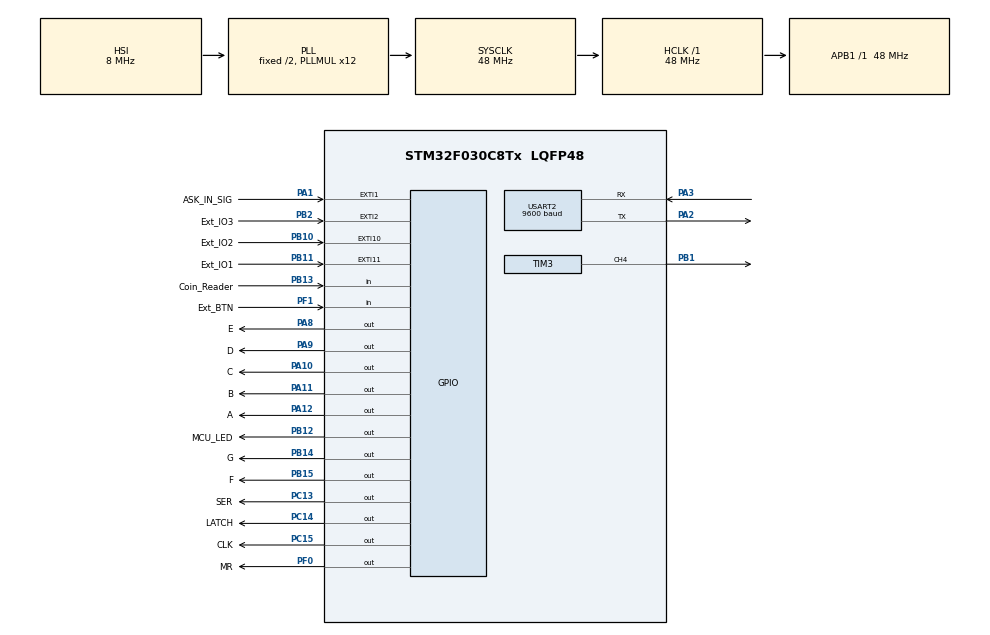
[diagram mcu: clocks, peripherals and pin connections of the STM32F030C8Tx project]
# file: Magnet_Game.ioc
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Dma.Request0=TIM3_CH4/UP
Dma.TIM3_CH4/UP.0.Direction=DMA_MEMORY_TO_PERIPH
Dma.TIM3_CH4/UP.0.Instance=DMA1_Channel3
Dma.TIM3_CH4/UP.0.MemDataAlignment=DMA_MDATAALIGN_HALFWORD
Dma.TIM3_CH4/UP.0.MemInc=DMA_MINC_ENABLE
Dma.TIM3_CH4/UP.0.Mode=DMA_NORMAL
Dma.TIM3_CH4/UP.0.PeriphDataAlignment=DMA_PDATAALIGN_HALFWORD
Dma.TIM3_CH4/UP.0.PeriphInc=DMA_PINC_DISABLE
Dma.TIM3_CH4/UP.0.Priority=DMA_PRIORITY_LOW
Mcu.Family=STM32F0
Mcu.Name=STM32F030C8Tx
Mcu.Package=LQFP48
NVIC.DMA1_Channel2_3_IRQn=true\:0\:0\:false\:false\:true\:false\:true\:true
NVIC.EXTI0_1_IRQn=true\:0\:0\:false\:false\:true\:true\:true\:true
NVIC.EXTI2_3_IRQn=true\:0\:0\:false\:false\:true\:true\:true\:true
NVIC.TIM15_IRQn=true\:0\:0\:false\:false\:true\:true\:true\:true
PA1.GPIO_Label=ASK_IN_SIG
PA1.GPIO_ModeDefaultEXTI=GPIO_MODE_IT_RISING_FALLING
PA1.Signal=GPXTI1
PA10.GPIO_Label=C
PA10.Signal=GPIO_Output
PA11.GPIO_Label=B
PA11.Signal=GPIO_Output
PA12.GPIO_Label=A
PA12.Signal=GPIO_Output
PA13.Mode=Serial_Wire
PA13.Signal=SYS_SWDIO
PA14.Mode=Serial_Wire
PA14.Signal=SYS_SWCLK
PA2.Mode=Asynchronous
PA2.Signal=USART2_TX
PA3.Mode=Asynchronous
PA3.Signal=USART2_RX
PA8.GPIO_Label=E
PA8.Signal=GPIO_Output
PA9.GPIO_Label=D
PA9.Signal=GPIO_Output
PB1.Signal=S_TIM3_CH4
PB10.GPIO_Label=Ext_IO2
PB10.GPIO_ModeDefaultEXTI=GPIO_MODE_IT_FALLING
PB10.GPIO_PuPd=GPIO_PULLUP
PB10.Signal=GPXTI10
PB11.GPIO_Label=Ext_IO1
PB11.GPIO_ModeDefaultEXTI=GPIO_MODE_IT_FALLING
PB11.GPIO_PuPd=GPIO_PULLUP
PB11.Signal=GPXTI11
PB12.GPIO_Label=MCU_LED
PB12.Signal=GPIO_Output
PB13.GPIO_Label=Coin_Reader
PB13.GPIO_PuPd=GPIO_PULLUP
PB13.Signal=GPIO_Input
PB14.GPIO_Label=G
PB14.Signal=GPIO_Output
PB15.GPIO_Label=F
PB15.Signal=GPIO_Output
PB2.GPIO_Label=Ext_IO3
PB2.GPIO_ModeDefaultEXTI=GPIO_MODE_IT_FALLING
PB2.GPIO_PuPd=GPIO_PULLUP
PB2.Signal=GPXTI2
PC13.GPIO_Label=SER
PC13.Signal=GPIO_Output
PC14-OSC32_IN.GPIO_Label=LATCH
PC14-OSC32_IN.Signal=GPIO_Output
PC15-OSC32_OUT.GPIO_Label=CLK
PC15-OSC32_OUT.Signal=GPIO_Output
PF0-OSC_IN.GPIO_Label=MR
PF0-OSC_IN.Signal=GPIO_Output
PF1-OSC_OUT.GPIO_Label=Ext_BTN
PF1-OSC_OUT.GPIO_PuPd=GPIO_PULLUP
PF1-OSC_OUT.Signal=GPIO_Input
ProjectManager.HeapSize=0x200
ProjectManager.StackSize=0x400
ProjectManager.TargetToolchain=STM32CubeIDE
RCC.AHBFreq_Value=48000000
RCC.APB1Freq_Value=48000000
RCC.APB1TimFreq_Value=48000000
RCC.HCLKFreq_Value=48000000
RCC.PLLMUL=RCC_PLL_MUL12
RCC.SYSCLKFreq_VALUE=48000000
RCC.SYSCLKSource=RCC_SYSCLKSOURCE_PLLCLK
SH.S_TIM3_CH4.0=TIM3_CH4,PWM Generation4 CH4
TIM14.Prescaler=48000-1
TIM15.Period=10000-1
TIM15.Prescaler=48-1
TIM3.Channel-PWM\ Generation4\ CH4=TIM_CHANNEL_4
TIM3.Period=59
TIM3.Prescaler=0
TIM6.Prescaler=480-1
USART2.BaudRate=9600
USART2.VirtualMode-Asynchronous=VM_ASYNC
VP_TIM14_VS_ClockSourceINT.Mode=Enable_Timer
VP_TIM15_VS_ClockSourceINT.Mode=Internal
VP_TIM3_VS_ClockSourceINT.Mode=Internal
VP_TIM6_VS_ClockSourceINT.Mode=Enable_Timer
board=custom

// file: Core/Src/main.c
/* USER CODE BEGIN Header */
/**
 ******************************************************************************
 * @file           : main.c
 * @brief          : Main program body
 ******************************************************************************
 * @attention
 *
 * Copyright (c) 2024 STMicroelectronics.
 * All rights reserved.
 *
 * This software is licensed under terms that can be found in the LICENSE file
 * in the root directory of this software component.
 * If no LICENSE file comes with this software, it is provided AS-IS.
 *
 ******************************************************************************
 */
/* USER CODE END Header */
#include <ask_rt433.h>
#include "main.h"
#include "dma.h"
#include "tim.h"
#include "usart.h"
#include "gpio.h"

/* USER CODE BEGIN Includes */
#include "DFPLAYER_MINI.h"
#include "stdbool.h"
#include "FLASH_PAGE.h"
#include <stdio.h>
#include <stdlib.h>

#ifdef WS_LEDS
#include "WS2811_12.h"
#endif
/* USER CODE END Includes */

/* USER CODE BEGIN PTD */
#define H 12
#define E 16
#define F 17

#define NONE 97
#define EFFECT_1 99
#define EFFECT_2 100
#define EFFECT_321 103

/* USER CODE END PTD */

void SystemClock_Config(void);

/* USER CODE BEGIN 0 */
typedef enum{
	idle,
	learning,
	learned
}learning_state_t;
learning_state_t ask_learning_state = idle;
typedef enum{
	waiting_For_Start,
	button_Clicked,
	playing_Game,
	difficulty_setting,
	turn_setting,
}state_Of_Game_t;
state_Of_Game_t game_State = waiting_For_Start;

uint8_t randomNumber[10]={0,1,2,3,4,5,6,8,11,12};
uint16_t data = 0x0000;
uint16_t data_before_droped = 0xFFFF;
uint32_t seed = 0;
uint8_t state_Of_Segment = 0;
uint8_t timer_For_Ask_Lern = 0;
uint8_t remote_pressed = false;
uint8_t turn = 0;
ask_t rf433;
uint32_t ask_code_in_flash;
uint8_t code[3];
uint8_t sticks_Of_Dropped = 0;
uint8_t number_Of_Stick [16] = {9,3,4,5,6,7,8,0,2,0,0,0,1,0,0,0};
uint8_t button_Blinking = 0;
uint8_t a_hold_timer_cnt = 0;
uint8_t b_hold_timer_cnt = 0;
uint8_t c_hold_timer_cnt = 0;
uint32_t magnet_state = 0;

uint8_t coin = 0;
uint8_t x = 0;

// Settings
uint32_t difficulty;		//E, H, 0, 4, 8
uint32_t turn_num;		// 1, 2, 3, F

uint32_t remote_duration_hold = 0 ,remote_start_hold = 0 , remote_is_hold = 0 ,a_hold = 0, b_hold = 0 ,c_hold = 0;

void ShiftOut(uint16_t data);
void DF_Choose(uint8_t);
void segment_Update(int num);
void timer_Update();
void reset_Magnets();
//=================================================================================================================================================================================
void HAL_GPIO_EXTI_Callback(uint16_t GPIO_PIN)
{
	if(!HAL_GPIO_ReadPin(Ext_IO3_GPIO_Port, Ext_IO3_Pin))
		if(coin == 1)
		{
			if (game_State == waiting_For_Start)
			{
				game_State = button_Clicked;
				if(turn==0)
					turn = turn_num;
			}
		}
}
//=================================================================================================================================================================================
void reset_Shift_Register()
{
	HAL_GPIO_WritePin(MR_GPIO_Port, MR_Pin, 0);
	HAL_GPIO_WritePin(LATCH_GPIO_Port, LATCH_Pin, 1);
	HAL_GPIO_WritePin(LATCH_GPIO_Port, LATCH_Pin, 0);
}
//=================================================================================================================================================================================
void HAL_TIM_PeriodElapsedCallback(TIM_HandleTypeDef *htim)
{
	reset_Shift_Register();
	HAL_GPIO_WritePin(MR_GPIO_Port, MR_Pin, 1);
	if(x)
		ShiftOut(data);
	else
		ShiftOut(data_before_droped);
//
	x =! x;

}
//=================================================================================================================================================================================
void segment_Update(int num)
{
	if(num==0)
	{
		HAL_GPIO_WritePin(A_GPIO_Port, A_Pin,1);
		HAL_GPIO_WritePin(B_GPIO_Port, B_Pin,1);
		HAL_GPIO_WritePin(C_GPIO_Port, C_Pin,1);
		HAL_GPIO_WritePin(D_GPIO_Port, D_Pin,1);
		HAL_GPIO_WritePin(E_GPIO_Port, E_Pin,1);
		HAL_GPIO_WritePin(F_GPIO_Port, F_Pin,1);
		HAL_GPIO_WritePin(G_GPIO_Port, G_Pin,0);
	}
	else if(num==1)
	{
		HAL_GPIO_WritePin(A_GPIO_Port, A_Pin,0);
		HAL_GPIO_WritePin(B_GPIO_Port, B_Pin,1);
		HAL_GPIO_WritePin(C_GPIO_Port, C_Pin,1);
		HAL_GPIO_WritePin(D_GPIO_Port, D_Pin,0);
		HAL_GPIO_WritePin(E_GPIO_Port, E_Pin,0);
		HAL_GPIO_WritePin(F_GPIO_Port, F_Pin,0);
		HAL_GPIO_WritePin(G_GPIO_Port, G_Pin,0);
	}
	else if(num==2)
	{
		HAL_GPIO_WritePin(A_GPIO_Port, A_Pin,1);
		HAL_GPIO_WritePin(B_GPIO_Port, B_Pin,1);
		HAL_GPIO_WritePin(C_GPIO_Port, C_Pin,0);
		HAL_GPIO_WritePin(D_GPIO_Port, D_Pin,1);
		HAL_GPIO_WritePin(E_GPIO_Port, E_Pin,1);
		HAL_GPIO_WritePin(F_GPIO_Port, F_Pin,0);
		HAL_GPIO_WritePin(G_GPIO_Port, G_Pin,1);
	}
	else if(num==3)
	{
		HAL_GPIO_WritePin(A_GPIO_Port, A_Pin,1);
		HAL_GPIO_WritePin(B_GPIO_Port, B_Pin,1);
		HAL_GPIO_WritePin(C_GPIO_Port, C_Pin,1);
		HAL_GPIO_WritePin(D_GPIO_Port, D_Pin,1);
		HAL_GPIO_WritePin(E_GPIO_Port, E_Pin,0);
		HAL_GPIO_WritePin(F_GPIO_Port, F_Pin,0);
		HAL_GPIO_WritePin(G_GPIO_Port, G_Pin,1);
	}
	else if(num==4)
	{
		HAL_GPIO_WritePin(A_GPIO_Port, A_Pin,0);
		HAL_GPIO_WritePin(B_GPIO_Port, B_Pin,1);
		HAL_GPIO_WritePin(C_GPIO_Port, C_Pin,1);
		HAL_GPIO_WritePin(D_GPIO_Port, D_Pin,0);
		HAL_GPIO_WritePin(E_GPIO_Port, E_Pin,0);
		HAL_GPIO_WritePin(F_GPIO_Port, F_Pin,1);
		HAL_GPIO_WritePin(G_GPIO_Port, G_Pin,1);
	}
	else if(num==5)
	{
		HAL_GPIO_WritePin(A_GPIO_Port, A_Pin,1);
		HAL_GPIO_WritePin(B_GPIO_Port, B_Pin,0);
		HAL_GPIO_WritePin(C_GPIO_Port, C_Pin,1);
		HAL_GPIO_WritePin(D_GPIO_Port, D_Pin,1);
		HAL_GPIO_WritePin(E_GPIO_Port, E_Pin,0);
		HAL_GPIO_WritePin(F_GPIO_Port, F_Pin,1);
		HAL_GPIO_WritePin(G_GPIO_Port, G_Pin,1);
	}
	else if(num==6)
	{
		HAL_GPIO_WritePin(A_GPIO_Port, A_Pin,1);
		HAL_GPIO_WritePin(B_GPIO_Port, B_Pin,0);
		HAL_GPIO_WritePin(C_GPIO_Port, C_Pin,1);
		HAL_GPIO_WritePin(D_GPIO_Port, D_Pin,1);
		HAL_GPIO_WritePin(E_GPIO_Port, E_Pin,1);
		HAL_GPIO_WritePin(F_GPIO_Port, F_Pin,1);
		HAL_GPIO_WritePin(G_GPIO_Port, G_Pin,1);
	}
	else if(num==7)
	{
		HAL_GPIO_WritePin(A_GPIO_Port, A_Pin,1);
		HAL_GPIO_WritePin(B_GPIO_Port, B_Pin,1);
		HAL_GPIO_WritePin(C_GPIO_Port, C_Pin,1);
		HAL_GPIO_WritePin(D_GPIO_Port, D_Pin,0);
		HAL_GPIO_WritePin(E_GPIO_Port, E_Pin,0);
		HAL_GPIO_WritePin(F_GPIO_Port, F_Pin,0);
		HAL_GPIO_WritePin(G_GPIO_Port, G_Pin,0);
	}
	else if(num==8)
	{
		HAL_GPIO_WritePin(A_GPIO_Port, A_Pin,1);
		HAL_GPIO_WritePin(B_GPIO_Port, B_Pin,1);
		HAL_GPIO_WritePin(C_GPIO_Port, C_Pin,1);
		HAL_GPIO_WritePin(D_GPIO_Port, D_Pin,1);
		HAL_GPIO_WritePin(E_GPIO_Port, E_Pin,1);
		HAL_GPIO_WritePin(F_GPIO_Port, F_Pin,1);
		HAL_GPIO_WritePin(G_GPIO_Port, G_Pin,1);
	}
	else if(num==9)
	{
		HAL_GPIO_WritePin(A_GPIO_Port, A_Pin,1);
		HAL_GPIO_WritePin(B_GPIO_Port, B_Pin,1);
		HAL_GPIO_WritePin(C_GPIO_Port, C_Pin,1);
		HAL_GPIO_WritePin(D_GPIO_Port, D_Pin,1);
		HAL_GPIO_WritePin(E_GPIO_Port, E_Pin,0);
		HAL_GPIO_WritePin(F_GPIO_Port, F_Pin,1);
		HAL_GPIO_WritePin(G_GPIO_Port, G_Pin,1);
	}
	else if(num==H)
	{
		HAL_GPIO_WritePin(A_GPIO_Port, A_Pin,0);
		HAL_GPIO_WritePin(B_GPIO_Port, B_Pin,1);
		HAL_GPIO_WritePin(C_GPIO_Port, C_Pin,1);
		HAL_GPIO_WritePin(D_GPIO_Port, D_Pin,0);
		HAL_GPIO_WritePin(E_GPIO_Port, E_Pin,1);
		HAL_GPIO_WritePin(F_GPIO_Port, F_Pin,1);
		HAL_GPIO_WritePin(G_GPIO_Port, G_Pin,1);
	}
	else if(num==E)
	{
		HAL_GPIO_WritePin(A_GPIO_Port, A_Pin,1);
		HAL_GPIO_WritePin(B_GPIO_Port, B_Pin,0);
		HAL_GPIO_WritePin(C_GPIO_Port, C_Pin,0);
		HAL_GPIO_WritePin(D_GPIO_Port, D_Pin,1);
		HAL_GPIO_WritePin(E_GPIO_Port, E_Pin,1);
		HAL_GPIO_WritePin(F_GPIO_Port, F_Pin,1);
		HAL_GPIO_WritePin(G_GPIO_Port, G_Pin,1);
	}
	else if(num==F)
	{
		HAL_GPIO_WritePin(A_GPIO_Port, A_Pin,1);
		HAL_GPIO_WritePin(B_GPIO_Port, B_Pin,0);
		HAL_GPIO_WritePin(C_GPIO_Port, C_Pin,0);
		HAL_GPIO_WritePin(D_GPIO_Port, D_Pin,0);
		HAL_GPIO_WritePin(E_GPIO_Port, E_Pin,1);
		HAL_GPIO_WritePin(F_GPIO_Port, F_Pin,1);
		HAL_GPIO_WritePin(G_GPIO_Port, G_Pin,1);
	}
	//	else if(num==PAUSE)
	//	{
	//		HAL_GPIO_WritePin(A_GPIO_Port, A_Pin,1);
	//		HAL_GPIO_WritePin(B_GPIO_Port, B_Pin,1);
	//		HAL_GPIO_WritePin(C_GPIO_Port, C_Pin,0);
	//		HAL_GPIO_WritePin(D_GPIO_Port, D_Pin,0);
	//		HAL_GPIO_WritePin(E_GPIO_Port, E_Pin,1);
	//		HAL_GPIO_WritePin(F_GPIO_Port, F_Pin,1);
	//		HAL_GPIO_WritePin(G_GPIO_Port, G_Pin,1);
	//	}
	else if(num==NONE)
	{
		HAL_GPIO_WritePin(A_GPIO_Port, A_Pin,0);
		HAL_GPIO_WritePin(B_GPIO_Port, B_Pin,0);
		HAL_GPIO_WritePin(C_GPIO_Port, C_Pin,0);
		HAL_GPIO_WritePin(D_GPIO_Port, D_Pin,0);
		HAL_GPIO_WritePin(E_GPIO_Port, E_Pin,0);
		HAL_GPIO_WritePin(F_GPIO_Port, F_Pin,0);
		HAL_GPIO_WritePin(G_GPIO_Port, G_Pin,0);
	}
	else if(num==EFFECT_1)
	{
		if(state_Of_Segment==0)
		{
			HAL_GPIO_WritePin(A_GPIO_Port, A_Pin,0);
			HAL_GPIO_WritePin(B_GPIO_Port, B_Pin,1);
		}
		else if(state_Of_Segment==1)
		{
			HAL_GPIO_WritePin(B_GPIO_Port, B_Pin,0);
			HAL_GPIO_WritePin(C_GPIO_Port, C_Pin,1);
		}
		else if(state_Of_Segment==2)
		{
			HAL_GPIO_WritePin(C_GPIO_Port, C_Pin,0);
			HAL_GPIO_WritePin(D_GPIO_Port, D_Pin,1);
		}
		else if(state_Of_Segment==3)
		{
			HAL_GPIO_WritePin(D_GPIO_Port, D_Pin,0);
			HAL_GPIO_WritePin(E_GPIO_Port, E_Pin,1);
		}
		else if(state_Of_Segment==4)
		{
			HAL_GPIO_WritePin(E_GPIO_Port, E_Pin,0);
			HAL_GPIO_WritePin(F_GPIO_Port, F_Pin,1);
		}

		else if(state_Of_Segment==5)
		{
			HAL_GPIO_WritePin(F_GPIO_Port, F_Pin,0);
			HAL_GPIO_WritePin(A_GPIO_Port, A_Pin,1);
		}

		else if(state_Of_Segment>=6)
			state_Of_Segment=0;
	}
	else if(num==EFFECT_2)
	{
		HAL_GPIO_WritePin(A_GPIO_Port, A_Pin,1);
		HAL_Delay(500);
		HAL_GPIO_WritePin(A_GPIO_Port, A_Pin,0);
		HAL_GPIO_WritePin(G_GPIO_Port, G_Pin,1);
		HAL_Delay(500);
		HAL_GPIO_WritePin(G_GPIO_Port, G_Pin,0);
		HAL_GPIO_WritePin(D_GPIO_Port, D_Pin,1);
		HAL_Delay(500);
		HAL_GPIO_WritePin(D_GPIO_Port, D_Pin,0);
	}
	else if(num==EFFECT_321)
	{
		HAL_GPIO_WritePin(A_GPIO_Port, A_Pin,1);
		HAL_GPIO_WritePin(G_GPIO_Port, G_Pin,1);
		HAL_GPIO_WritePin(D_GPIO_Port, D_Pin,1);
		HAL_Delay(940);
		HAL_GPIO_WritePin(A_GPIO_Port, A_Pin,0);
		HAL_Delay(940);
		HAL_GPIO_WritePin(G_GPIO_Port, G_Pin,0);
		HAL_Delay(940);
		HAL_GPIO_WritePin(D_GPIO_Port, D_Pin,0);
	}
}
//=================================================================================================================================================================================
void shuffle(uint8_t *array, uint8_t size)
{
	for (int i = size - 1; i > 0; i--) {
		int j = rand() % (i + 1);

		int temp = array[i];
		array[i] = array[j];
		array[j] = temp;
	}
}
//=================================================================================================================================================================================
void ShiftOut(uint16_t data)
{
	for (int i = 0; i < 16; i++)
	{
		HAL_GPIO_WritePin(SER_GPIO_Port, SER_Pin, (data & (1 << (15 - i))) ? 1 : 0);
		HAL_GPIO_WritePin(CLK_GPIO_Port, CLK_Pin, 1);
		HAL_GPIO_WritePin(CLK_GPIO_Port, CLK_Pin, 0);
	}
	HAL_GPIO_WritePin(LATCH_GPIO_Port, LATCH_Pin, 1);
	HAL_GPIO_WritePin(LATCH_GPIO_Port, LATCH_Pin, 0);
}
//=================================================================================================================================================================================
void button_Click()
{
	DF_Choose(1);
	data=0xFFFF;
//	for(int i = 3; i>=0; i--)
//	{
//		segment_Update(i);
//		HAL_Delay(1000);
//	}
	segment_Update(NONE);
	segment_Update(EFFECT_321);
	HAL_Delay(1000);
	segment_Update(NONE);
	game_State=playing_Game;
}
//=================================================================================================================================================================================
void start_Game()
{
	if(sticks_Of_Dropped<10)
	{

		if(sticks_Of_Dropped==0)
		{
			if(difficulty < 16)
				DF_Choose(2); // Plays Music
			else
			{
				DF_Choose(3); // Plays Music
				HAL_Delay(1600);
			}
		}

		if(difficulty<10)
		{
			segment_Update(number_Of_Stick[randomNumber[sticks_Of_Dropped]]);			// "9 - ..." is bug of simkeshi

#ifdef WS_LEDS
			Set_LED(9 - number_Of_Stick[randomNumber[sticks_Of_Dropped]], 64, 128, 255);
			WS2812_Send();
#endif
			HAL_Delay(difficulty * 100);
#ifdef WS_LEDS
			Set_LED(9 - number_Of_Stick[randomNumber[sticks_Of_Dropped]], 0, 0, 0);
			WS2812_Send();
#endif
		}
		else if(difficulty == 16)
		{
			data_before_droped = data_before_droped  & (~(1 << randomNumber[sticks_Of_Dropped]));
			HAL_Delay(100);
			data = data  & (~(1 << randomNumber[sticks_Of_Dropped]));
			sticks_Of_Dropped++;
		}

		data_before_droped = data_before_droped  & (~(1 << randomNumber[sticks_Of_Dropped]));
		HAL_Delay(100);
		data = data & (~(1 << randomNumber[sticks_Of_Dropped]));

		HAL_Delay(1250 + (800 - (difficulty*100)));
		if(difficulty == 16)
			HAL_Delay(1100);
		else if(difficulty == 12)
			HAL_Delay(400);

		sticks_Of_Dropped++;
	}
	else if(sticks_Of_Dropped==10)
	{
		if(turn_num != F)
			turn--;
		sticks_Of_Dropped=0;
		if (turn==0)
			coin=0;
		segment_Update(NONE);
		DF_Pause();
		reset_Magnets();

		game_State=waiting_For_Start;
	}

}
//=================================================================================================================================================================================
void difficultySettings()
{
	if(HAL_GPIO_ReadPin(Ext_IO3_GPIO_Port, Ext_IO3_Pin) == 0)
	{
		HAL_Delay(50);
		while(HAL_GPIO_ReadPin(Ext_IO3_GPIO_Port, Ext_IO3_Pin) == 0)
			HAL_Delay(50);
		difficulty += 4;
		if(difficulty >= 17)
			difficulty = 0;
	}
}
//=================================================================================================================================================================================
void turnSettings()
{
	if(HAL_GPIO_ReadPin(Ext_IO3_GPIO_Port, Ext_IO3_Pin) == 0)
	{
		HAL_Delay(50);
		while(HAL_GPIO_ReadPin(Ext_IO3_GPIO_Port, Ext_IO3_Pin) == 0)
			HAL_Delay(50);
		turn_num += 1;
		if(turn_num == 4)
			turn_num = F;
		else if(turn_num >= 5)
			turn_num = 1;
	}
}
//=================================================================================================================================================================================
void check_a_hold_key()
{

	if(a_hold_timer_cnt>=30)
	{
		if(game_State==difficulty_setting)
		{
			game_State =waiting_For_Start;
			Flash_Write_Data(0x08009000, &difficulty, 1);
		}
		else
			game_State=difficulty_setting;

		a_hold_timer_cnt=0;
		segment_Update(NONE);
	}
}
//=================================================================================================================================================================================
void check_b_hold_key()

{
	if(b_hold_timer_cnt>=30)
	{
		if(game_State==turn_setting)
		{
			game_State =waiting_For_Start;
			Flash_Write_Data(0x0800a000, &turn_num, 1);
			coin = 0;
			turn = 0;
			reset_Magnets();
		}
		else
			game_State=turn_setting;

		b_hold_timer_cnt=0;
		segment_Update(NONE);
	}
}
//=================================================================================================================================================================================
void check_c_hold_key()
{
	if(c_hold_timer_cnt>=30)
	{
		segment_Update(NONE);
		segment_Update(EFFECT_2);
		if(magnet_state)
		{
			data_before_droped = 0x0000;
			data = 0x0000;
			magnet_state = 0;
		}
		else
		{
			data_before_droped = 0xFFFF;
			data = 0xFFFF;
			magnet_state = 1;
		}
		Flash_Write_Data(0x0800b000, &magnet_state, 1);
		c_hold_timer_cnt=0;
		segment_Update(NONE);
	}
}
//=================================================================================================================================================================================
void blinking()
{
	for(int i=0;i<=5;i++)
	{
		HAL_GPIO_WritePin(MCU_LED_GPIO_Port, MCU_LED_Pin, 1);
		HAL_Delay(75);
		HAL_GPIO_WritePin(MCU_LED_GPIO_Port, MCU_LED_Pin, 0);
		HAL_Delay(75);
	}
}
//=================================================================================================================================================================================
void reset_Magnets()
{
	if(magnet_state)
	{
		data = 0xFFFF;
		data_before_droped = 0xFFFF;
	}
	else
	{
		data = 0x0000;
		data_before_droped = 0x0000;
	}
}
//=================================================================================================================================================================================
void check_And_Learn_Ask()
{

	ask_loop(&rf433);
	if (ask_available(&rf433))
	{
		ask_read(&rf433, code, NULL, NULL);
		if((ask_code_in_flash & 0x0000FFFF) == (code[0] | (code[1] << 8)))
		{
			HAL_GPIO_WritePin(MCU_LED_GPIO_Port, MCU_LED_Pin, 1);
			if((code[2] & 0x0F) == 0x01)	// A
				coin = 1;
			if(ask_isHold(&rf433))
			{
				HAL_GPIO_WritePin(MCU_LED_GPIO_Port, MCU_LED_Pin, 1);
				remote_is_hold = 1;
				remote_start_hold = HAL_GetTick();
				if((code[2] & 0x0F) == 0x01)	// A
					a_hold = 1;
				else if((code[2] & 0x0F) == 0x02)	// B
					b_hold = 1;
				else if((code[2] & 0x0F) == 0x04)	// C
					c_hold = 1;
			}
		}

	}
	else
		HAL_GPIO_WritePin(MCU_LED_GPIO_Port, MCU_LED_Pin, 0);
//=================================================================================================================================================================================

	if(ask_learning_state == idle)	// Learn Procedure ...
	{
		if(!HAL_GPIO_ReadPin(Ext_BTN_GPIO_Port, Ext_BTN_Pin))
		{
			timer_For_Ask_Lern=0;
			ask_learning_state = learning;
		}
	}
	else if(ask_learning_state == learning)
	{
		if(timer_For_Ask_Lern==35)// wait for 5 seconds
		{
			// ask code is valid, so save it ...
			ask_code_in_flash = code[0] | (code[1] << 8) | (code[2] << 16);
			blinking();
			Flash_Write_Data(0x08008000, &ask_code_in_flash, 1);
			ask_learning_state = learned;
		}

		if(HAL_GPIO_ReadPin(Ext_BTN_GPIO_Port, Ext_BTN_Pin))	// BTN is released, learning procedure failed
			ask_learning_state = idle;

	}
	else // learned
	{
		// wait for BTN to release
		if(HAL_GPIO_ReadPin(Ext_BTN_GPIO_Port, Ext_BTN_Pin))
			ask_learning_state = idle;
	}
}
//=================================================================================================================================================================================
void timer_Update()

{

	if(remote_is_hold == 1)
		remote_duration_hold = HAL_GetTick() - remote_start_hold;

	if(htim14.Instance->CNT>150)
	{
		htim14.Instance->CNT=0;
		state_Of_Segment++;
		timer_For_Ask_Lern++;
		button_Blinking=!button_Blinking;

		if(a_hold)
		{
			if(remote_duration_hold > 500)
			{
				a_hold = 0;
				remote_is_hold = 0;			// 500 ticks passed, but a_duration_hold didn't update, so a is not held anymore. so ...
				a_hold_timer_cnt = 0;
			}
			else
				a_hold_timer_cnt++;
		}
		else if(b_hold)
		{
			if(remote_duration_hold > 500)
			{
				b_hold = 0;
				remote_is_hold = 0;
				b_hold_timer_cnt = 0;
			}
			else
				b_hold_timer_cnt++;
		}
		else if(c_hold)
		{
			if(remote_duration_hold > 500)
			{
				c_hold = 0;
				remote_is_hold = 0;
				c_hold_timer_cnt = 0;
			}
			else
				c_hold_timer_cnt++;
		}

	}
}
//=================================================================================================================================================================================
/* USER CODE END 0 */

int main(void)
{

	/* MCU Configuration--------------------------------------------------------*/

	/* Reset of all peripherals, Initializes the Flash interface and the Systick. */
	HAL_Init();

	/* Configure the system clock */
	SystemClock_Config();

	/* Initialize all configured peripherals */
	MX_GPIO_Init();
	MX_DMA_Init();
	MX_USART2_UART_Init();
	MX_TIM3_Init();
	MX_TIM15_Init();
	MX_TIM6_Init();
	MX_TIM14_Init();
	/* USER CODE BEGIN 2 */

	//	HAL_TIM_Base_Start(&htim3);
	HAL_TIM_Base_Start_IT(&htim15);
	HAL_TIM_Base_Start(&htim14);
	//	seed = __HAL_TIM_GET_COUNTER(&htim3);
	//	srand(seed);
	reset_Shift_Register();
	ask_init(&rf433,ASK_IN_SIG_GPIO_Port,ASK_IN_SIG_Pin);
	Flash_Read_Data(0x08008000, &ask_code_in_flash, 1);	// Read ASK code in Flash
	Flash_Read_Data(0x08009000, &difficulty, 1);
	Flash_Read_Data(0x0800a000, &turn_num, 1);
	Flash_Read_Data(0x0800b000, &magnet_state, 1);

	//	memset(LED_Data, 0, sizeof(LED_Data));

#ifdef WS_LEDS
	HAL_Delay(500);
	for(int i=0; i < 5; i++)
	{
		Set_LED(5 - i, 255, 255, 255);
		Set_LED(i + 5, 255, 255, 255);
		WS2812_Send();
		HAL_Delay(200);
		Set_LED(5 - i, 0, 0, 0);
		Set_LED(i + 5, 0, 0, 0);
		WS2812_Send();
	}

	HAL_Delay(500);

	for(int j = 0; j < 3; j++)
	{
		for(int i = 0; i < 10; i++)
			Set_LED(i, 255, 255, 255);
		WS2812_Send();
		HAL_Delay(150);
		for(int i = 0; i < 10; i++)
			Set_LED(i, 0, 0, 0);
		WS2812_Send();
		HAL_Delay(150);
	}
#else
	HAL_Delay(3000);
#endif

	//  HAL_Delay(3000);
	DF_Init(30);
	reset_Magnets();
	/* USER CODE END 2 */

	/* Infinite loop */
	/* USER CODE BEGIN WHILE */
	while (1)
	{
		// Receive the ask code
		check_And_Learn_Ask();

		// EXT_IO4 --> Automation Device Signal
		if(HAL_GPIO_ReadPin(Coin_Reader_GPIO_Port, Coin_Reader_Pin) == 0)
			coin = 1;

		// F mode (Free)
		if(turn_num == F)
			coin = 1;

		if(game_State==waiting_For_Start)//check coin & ask & start button
		{
			segment_Update(EFFECT_1);
			timer_Update();
			shuffle(randomNumber, 10);
			if(coin)
			{
				if(button_Blinking)
				{
					data = 0xFFFF;
					data_before_droped = 0xFFFF;

				}
				else
				{
					data = 0xFBFF;
					data_before_droped = 0xFBFF;

				}
			}
			check_a_hold_key();
			check_b_hold_key();
			check_c_hold_key();

		}
		else if(game_State==button_Clicked)
			button_Click();
		else if(game_State==playing_Game)
			start_Game();
		else if(game_State==difficulty_setting)
		{
			segment_Update(difficulty);
			difficultySettings();
			timer_Update();
			check_a_hold_key();
		}
		else if(game_State==turn_setting)
		{
			segment_Update(turn_num);
			turnSettings();
			timer_Update();
			check_b_hold_key();
		}

		//			setting();
		/* USER CODE END WHILE */

	}
}

void SystemClock_Config(void)
{
	RCC_OscInitTypeDef RCC_OscInitStruct = {0};
	RCC_ClkInitTypeDef RCC_ClkInitStruct = {0};

	/** Initializes the RCC Oscillators according to the specified parameters
	 * in the RCC_OscInitTypeDef structure.
	 */
	RCC_OscInitStruct.OscillatorType = RCC_OSCILLATORTYPE_HSI;
	RCC_OscInitStruct.HSIState = RCC_HSI_ON;
	RCC_OscInitStruct.HSICalibrationValue = RCC_HSICALIBRATION_DEFAULT;
	RCC_OscInitStruct.PLL.PLLState = RCC_PLL_ON;
	RCC_OscInitStruct.PLL.PLLSource = RCC_PLLSOURCE_HSI;
	RCC_OscInitStruct.PLL.PLLMUL = RCC_PLL_MUL12;
	RCC_OscInitStruct.PLL.PREDIV = RCC_PREDIV_DIV1;
	if (HAL_RCC_OscConfig(&RCC_OscInitStruct) != HAL_OK)
	{
		Error_Handler();
	}

	/** Initializes the CPU, AHB and APB buses clocks
	 */
	RCC_ClkInitStruct.ClockType = RCC_CLOCKTYPE_HCLK|RCC_CLOCKTYPE_SYSCLK
			|RCC_CLOCKTYPE_PCLK1;
	RCC_ClkInitStruct.SYSCLKSource = RCC_SYSCLKSOURCE_PLLCLK;
	RCC_ClkInitStruct.AHBCLKDivider = RCC_SYSCLK_DIV1;
	RCC_ClkInitStruct.APB1CLKDivider = RCC_HCLK_DIV1;

	if (HAL_RCC_ClockConfig(&RCC_ClkInitStruct, FLASH_LATENCY_1) != HAL_OK)
	{
		Error_Handler();
	}
}

void Error_Handler(void)
{
	__disable_irq();
	while (1)
	{
	}
}
